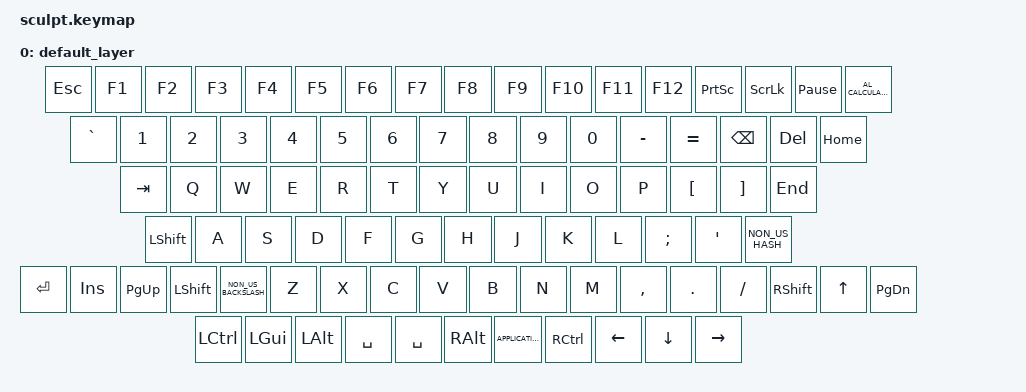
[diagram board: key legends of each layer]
/*
* Copyright (c) 2020 The ZMK Contributors
*
* SPDX-License-Identifier: MIT
*/

#include <dt-bindings/zmk/keys.h>

/ {
  keymap {
    compatible = "zmk,keymap";
    default_layer {
      bindings = <
      &kp ESCAPE &kp F1 &kp F2 &kp F3 &kp F4 &kp F5 &kp F6 &kp F7 &kp F8 &kp F9 &kp F10 &kp F11 &kp F12 &kp PRINTSCREEN &kp SCROLLLOCK &kp PAUSE_BREAK &kp C_AL_CALCULATOR
      &kp GRAVE &kp N1 &kp N2 &kp N3 &kp N4 &kp N5 &kp N6 &kp N7 &kp N8 &kp N9 &kp N0 &kp MINUS &kp EQUAL &kp BACKSPACE &kp DELETE &kp HOME
      &kp TAB &kp Q &kp W &kp E &kp R &kp T &kp Y &kp U &kp I &kp O &kp P &kp LEFT_BRACKET &kp RIGHT_BRACKET &kp END
      &kp LEFT_SHIFT &kp A &kp S &kp D &kp F &kp G &kp H &kp J &kp K &kp L &kp SEMICOLON &kp SINGLE_QUOTE &kp NON_US_HASH
      &kp ENTER &kp INSERT &kp PAGE_UP &kp LEFT_SHIFT &kp NON_US_BACKSLASH &kp Z &kp X &kp C &kp V &kp B &kp N &kp M &kp COMMA &kp DOT &kp SLASH &kp RIGHT_SHIFT &kp UP &kp PAGE_DOWN
      &kp LEFT_CONTROL &kp LEFT_GUI &kp LEFT_ALT &kp SPACE &kp SPACE &kp RIGHT_ALT &kp K_APPLICATION &kp RIGHT_CONTROL &kp LEFT &kp DOWN &kp RIGHT
      >;
    };
  };
};

